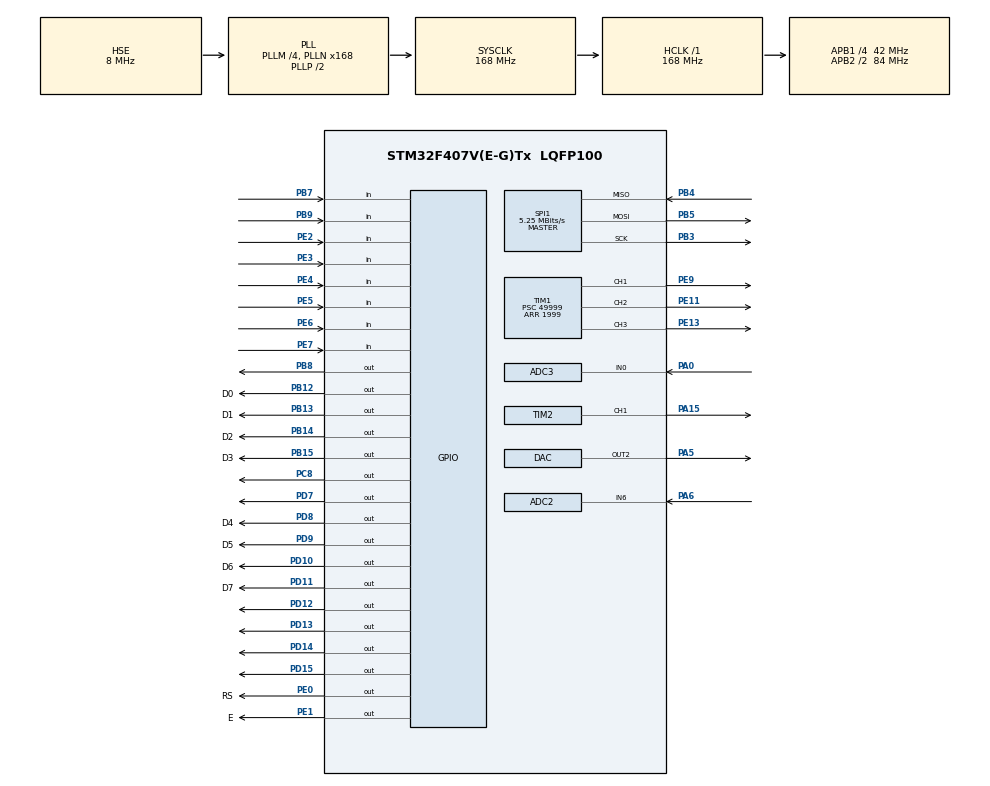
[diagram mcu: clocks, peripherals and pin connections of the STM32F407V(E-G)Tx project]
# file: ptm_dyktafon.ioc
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ADC2.Channel-6\#ChannelRegularConversion=ADC_CHANNEL_6
ADC2.NbrOfConversionFlag=1
ADC2.Rank-6\#ChannelRegularConversion=1
ADC2.SamplingTime-6\#ChannelRegularConversion=ADC_SAMPLETIME_3CYCLES
ADC3.Channel-0\#ChannelRegularConversion=ADC_CHANNEL_0
ADC3.NbrOfConversionFlag=1
ADC3.Rank-0\#ChannelRegularConversion=1
ADC3.Resolution=ADC_RESOLUTION_8B
ADC3.SamplingTime-0\#ChannelRegularConversion=ADC_SAMPLETIME_3CYCLES
Mcu.Family=STM32F4
Mcu.Name=STM32F407V(E-G)Tx
Mcu.Package=LQFP100
NVIC.PriorityGroup=NVIC_PRIORITYGROUP_4
NVIC.TIM2_IRQn=true\:0\:0\:false\:false\:true\:true\:true
NVIC.TIM3_IRQn=true\:1\:0\:true\:false\:true\:true\:true
NVIC.TIM4_IRQn=true\:0\:0\:false\:false\:true\:true\:true
NVIC.TIM5_IRQn=true\:0\:0\:false\:false\:true\:true\:true
PA0-WKUP.Signal=ADCx_IN0
PA15.Signal=S_TIM2_CH1_ETR
PA5.Signal=COMP_DAC2_group
PA6.Signal=ADCx_IN6
PB0.Signal=S_TIM3_CH3
PB12.GPIO_Label=D0
PB12.Signal=GPIO_Output
PB13.GPIO_Label=D1
PB13.Signal=GPIO_Output
PB14.GPIO_Label=D2
PB14.Signal=GPIO_Output
PB15.GPIO_Label=D3
PB15.Signal=GPIO_Output
PB3.Mode=Full_Duplex_Master
PB3.Signal=SPI1_SCK
PB4.Mode=Full_Duplex_Master
PB4.Signal=SPI1_MISO
PB5.Mode=Full_Duplex_Master
PB5.Signal=SPI1_MOSI
PB7.GPIO_PuPd=GPIO_PULLUP
PB7.Signal=GPIO_Input
PB8.Signal=GPIO_Output
PB9.GPIO_PuPd=GPIO_PULLUP
PB9.Signal=GPIO_Input
PC5.Signal=ADCx_IN15
PC6.Signal=S_TIM3_CH1
PC7.Signal=S_TIM3_CH2
PC8.Signal=GPIO_Output
PD10.GPIO_Label=D6
PD10.Signal=GPIO_Output
PD11.GPIO_Label=D7
PD11.Signal=GPIO_Output
PD12.Signal=GPIO_Output
PD13.Signal=GPIO_Output
PD14.Signal=GPIO_Output
PD15.Signal=GPIO_Output
PD7.Signal=GPIO_Output
PD8.GPIO_Label=D4
PD8.Signal=GPIO_Output
PD9.GPIO_Label=D5
PD9.Signal=GPIO_Output
PE0.GPIO_Label=RS
PE0.Signal=GPIO_Output
PE1.GPIO_Label=E
PE1.Signal=GPIO_Output
PE11.Signal=S_TIM1_CH2
PE13.Signal=S_TIM1_CH3
PE2.GPIO_PuPd=GPIO_PULLUP
PE2.Signal=GPIO_Input
PE3.GPIO_PuPd=GPIO_PULLUP
PE3.Signal=GPIO_Input
PE4.GPIO_PuPd=GPIO_PULLUP
PE4.Signal=GPIO_Input
PE5.GPIO_PuPd=GPIO_PULLUP
PE5.Signal=GPIO_Input
PE6.GPIO_PuPd=GPIO_PULLUP
PE6.Signal=GPIO_Input
PE7.GPIO_PuPd=GPIO_PULLUP
PE7.Signal=GPIO_Input
PE9.Signal=S_TIM1_CH1
PH0-OSC_IN.Mode=HSE-External-Oscillator
PH0-OSC_IN.Signal=RCC_OSC_IN
PH1-OSC_OUT.Mode=HSE-External-Oscillator
PH1-OSC_OUT.Signal=RCC_OSC_OUT
ProjectManager.HeapSize=0x200
ProjectManager.StackSize=0x400
ProjectManager.TargetToolchain=STM32CubeIDE
RCC.48MHZClocksFreq_Value=84000000
RCC.AHBFreq_Value=168000000
RCC.APB1CLKDivider=RCC_HCLK_DIV4
RCC.APB1Freq_Value=42000000
RCC.APB1TimFreq_Value=84000000
RCC.APB2CLKDivider=RCC_HCLK_DIV2
RCC.APB2Freq_Value=84000000
RCC.APB2TimFreq_Value=168000000
RCC.CortexFreq_Value=168000000
RCC.HCLKFreq_Value=168000000
RCC.HSE_VALUE=8000000
RCC.HSI_VALUE=16000000
RCC.LSE_VALUE=32768
RCC.PLLM=4
RCC.PLLN=168
RCC.PLLSourceVirtual=RCC_PLLSOURCE_HSE
RCC.SYSCLKFreq_VALUE=168000000
RCC.SYSCLKSource=RCC_SYSCLKSOURCE_PLLCLK
RCC.VCOOutputFreq_Value=336000000
SH.ADCx_IN0.0=ADC3_IN0,IN0
SH.ADCx_IN15.0=ADC1_IN15
SH.ADCx_IN6.0=ADC2_IN6,IN6
SH.COMP_DAC2_group.0=DAC_OUT2,DAC_OUT2
SH.S_TIM1_CH1.0=TIM1_CH1,PWM Generation1 CH1
SH.S_TIM1_CH2.0=TIM1_CH2,PWM Generation2 CH2
SH.S_TIM1_CH3.0=TIM1_CH3,PWM Generation3 CH3
SH.S_TIM2_CH1_ETR.0=TIM2_CH1,PWM Generation1 CH1
SH.S_TIM3_CH1.0=TIM3_CH1
SH.S_TIM3_CH2.0=TIM3_CH2
SH.S_TIM3_CH3.0=TIM3_CH3
SPI1.BaudRatePrescaler=SPI_BAUDRATEPRESCALER_16
SPI1.CalculateBaudRate=5.25 MBits/s
SPI1.Direction=SPI_DIRECTION_2LINES
SPI1.Mode=SPI_MODE_MASTER
SPI1.VirtualType=VM_MASTER
TIM1.Channel-PWM\ Generation1\ CH1=TIM_CHANNEL_1
TIM1.Channel-PWM\ Generation2\ CH2=TIM_CHANNEL_2
TIM1.Channel-PWM\ Generation3\ CH3=TIM_CHANNEL_3
TIM1.Period=1999
TIM1.Prescaler=49999
TIM2.Channel-PWM\ Generation1\ CH1=TIM_CHANNEL_1
TIM2.Period=3999
TIM2.Prescaler=2099
TIM3.Period=1999
TIM3.Prescaler=20999
TIM4.Period=209
TIM4.Prescaler=49
TIM5.Period=209
TIM5.Prescaler=49
VP_TIM2_VS_ClockSourceINT.Mode=Internal
VP_TIM3_VS_ClockSourceINT.Mode=Internal
VP_TIM4_VS_ClockSourceINT.Mode=Internal
VP_TIM5_VS_ClockSourceINT.Mode=Internal
board=custom

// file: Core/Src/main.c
/* USER CODE BEGIN Header */
/**
  ******************************************************************************
  * @file           : main.c
  * @brief          : Main program body
  ******************************************************************************
  * @attention
  *
  * <h2><center>&copy; Copyright (c) 2020 STMicroelectronics.
  * All rights reserved.</center></h2>
  *
  * This software component is licensed by ST under BSD 3-Clause license,
  * the "License"; You may not use this file except in compliance with the
  * License. You may obtain a copy of the License at:
  *                        opensource.org/licenses/BSD-3-Clause
  *
  ******************************************************************************
  */
/* USER CODE END Header */

#include "main.h"

/* USER CODE BEGIN Includes */
#include "ff.h"
#include "STM_MY_LCD16X2.h"
#include "file_manager.h"
#include "recorder.h"
#include "stm32f4xx_hal.h"
#include <stdlib.h>
#include <string.h>
#define CHUNK_SIZE 256
//extern const uint8_t rawAudio[123200];
uint8_t data_chunk[CHUNK_SIZE];
extern volatile int data_iterator;
extern const uint32_t SAMPLE_RATE;
/* USER CODE END Includes */

ADC_HandleTypeDef hadc2;
ADC_HandleTypeDef hadc3;

DAC_HandleTypeDef hdac;

SPI_HandleTypeDef hspi1;

TIM_HandleTypeDef htim1;
TIM_HandleTypeDef htim2;
TIM_HandleTypeDef htim3;
TIM_HandleTypeDef htim4;
TIM_HandleTypeDef htim5;

/* USER CODE BEGIN PV */
uint8_t adc_value;
/*------Zmienne potrzebne do glosnika----------*/
volatile uint32_t sample=0;
double volume=0;
volatile uint8_t diode_state =0;
uint16_t value;

volatile int playing = 0;
uint32_t file_size = 0;

/*-----------zmienne potrzebne do nagrywania-------------*/
volatile int recording = 0;
uint32_t recording_time = 0;
uint16_t total_adc_value = 0;
uint16_t previous_total_adc_value = 0;

/*------------zmienne do ... --------------*/
volatile int y=0;
volatile int z=100;
volatile int selection=-1;
volatile int last_selection=-1;
/*-------------Zmienne potrzebne do zapisu i odczytu na kacie pamieci-------------------------------*/
char buffer[256]; //bufor odczytu i zapisu
static FATFS FatFs; //uchwyt do urządzenia FatFs (dysku, karty SD...)
FRESULT fresult; //do przechowywania wyniku operacji na bibliotece FatFs
static FIL file; //uchwyt do otwartego pliku
char * file_name="0.wav";

/* USER CODE END PV */

void SystemClock_Config(void);
static void MX_GPIO_Init(void);
static void MX_TIM2_Init(void);
static void MX_TIM3_Init(void);
static void MX_SPI1_Init(void);
static void MX_DAC_Init(void);
static void MX_TIM5_Init(void);
static void MX_TIM4_Init(void);
static void MX_ADC2_Init(void);
static void MX_TIM1_Init(void);
static void MX_ADC3_Init(void);
/* USER CODE BEGIN PFP */
/*--------------------Otwarcie pliku do odtwarzania------------------------*/
void OpenFileToRead(char *file_name)
{
	FRESULT fr1;
	fr1=f_open(&file, file_name, FA_READ);
	sample=44;
	file_size=f_size(&file);
	f_lseek(&file, 44);

}
void CloseFileToRead(char *file_name)
{
	f_close(&file);
}

/*------------------------Odczyt jednego fragmentu danych------------*/
int ReadChunk(char* file_path, uint32_t sample)
{
	UINT br;
	f_lseek(&file, sample);
	f_read(&file, data_chunk, CHUNK_SIZE, &br);
	if (CHUNK_SIZE != br) return 1;
	return 0;
}
void HAL_TIM_PeriodElapsedCallback(TIM_HandleTypeDef*htim) //2,5,4 timer wykorzystany 1 do diody1
{
/*--------------------Wyswietlanie czasu-------------------*/

	if(htim->Instance== TIM3)
		{
		if (playing)
			 	{
		      char * display_time = (char *)malloc(13);
		      int seconds = sample/SAMPLE_RATE;
		      int minutes = seconds / 60 ;
		      int seconds_left = seconds % 60;
		      int file_seconds = (file_size-44)/SAMPLE_RATE;
		      int file_minutes = file_seconds / 60 ;
		      int file_seconds_left = file_seconds % 60;
		      sprintf(display_time, "%0.2d:%0.2d / %0.2d:%0.2d",minutes, seconds_left,file_minutes, file_seconds_left);
		      printf("%s\n",display_time);

			 		LCD1602_clear();
			 		LCD1602_1stLine();
			 		LCD1602_print(file_name);
			 		LCD1602_2ndLine();
			 		LCD1602_print(display_time);
			 		free(display_time);
			 	}
		if (recording)
			{
		  char * display_time = (char *)malloc(16);
		  int seconds = recording_time/SAMPLE_RATE;
		  int minutes = seconds / 60 ;
		  int seconds_left = seconds % 60;
		  sprintf(display_time, "%s: %0.2d:%0.2d",file_name, minutes, seconds_left);
		  printf("%s\n",display_time);

				LCD1602_clear();
				LCD1602_1stLine();
				LCD1602_print("recording");
				LCD1602_2ndLine();
				LCD1602_print(display_time);
				free(display_time);
			}

		}
/*--------------------Odczyt z mikrofonu------------------*/
	if(htim->Instance== TIM4)
	{
		if (recording==1)
		{
			HAL_ADC_Start(&hadc3);
			  if(HAL_ADC_PollForConversion(&hadc3, 10) == HAL_OK)
			  {

	                 previous_total_adc_value = total_adc_value;
	                 total_adc_value = 0;
	                 total_adc_value += HAL_ADC_GetValue(&hadc3);
	                 for (int i =0; i <15; i++)
	                 {
	                     HAL_ADC_Start(&hadc3);
	                     HAL_ADC_PollForConversion(&hadc3, 10);
	                     total_adc_value += HAL_ADC_GetValue(&hadc3);
	                 }
	                 total_adc_value /= 16;
	                 data_chunk[data_iterator]  = (total_adc_value + previous_total_adc_value)/2;
	                 data_iterator++;

				 	  if (data_iterator >= CHUNK_SIZE - 1)
					  {

					  SaveChunk(file_name, data_chunk);
					  data_iterator = 0;
					  int sum=0;
					  for (int i=0; i<CHUNK_SIZE; i++)
					  {
						  sum+=data_chunk[i];
					  }
					  recording_time+=CHUNK_SIZE;
					  rgb2_set((uint8_t)(sum/CHUNK_SIZE));

					  }
			  }
		}
	}

/*--------------------Odwarzanie z glosniczka------------------*/
	if(htim->Instance== TIM5)
		{
			if(playing)
			{

				if(sample <= file_size)
				{
					HAL_DAC_SetValue(&hdac, DAC_CHANNEL_2, DAC_ALIGN_12B_R, data_chunk[data_iterator]*volume);

					data_iterator++;
					if (data_iterator >= CHUNK_SIZE - 1)
					{
						sample += CHUNK_SIZE;
						ReadChunk(file_name, sample);
						data_iterator = 0;
					 }
				}
				else
				{
					rgb1_set(0, 0, 0);
			 		playing = 0;
			 		 sample = 0;
			 		 CloseFileToRead(file_name);
				}
			}
		}

}

/*--------------------Ustalanie glosnosci------------------*/
void set_volume()
{
	  HAL_ADC_Start(&hadc2);
	  if(HAL_ADC_PollForConversion(&hadc2, 10) == HAL_OK)
	  {
		  value = HAL_ADC_GetValue(&hadc2);
		  volume = value/(double)409;
	  }
}

/*-------------------Konfiguracja diody RGB1----------------------------*/
void rgb1_set(uint8_t red, uint8_t green, uint8_t blue)
{
	htim1.Instance->CCR1=red*2000;
	htim1.Instance->CCR2=green*2000;
	htim1.Instance->CCR3=blue*2000;
}

/*-------------------Konfiguracja diody RGB2----------------------------*/

void rgb2_set(uint8_t red)
{
	if (recording)
	TIM2->CCR1=(red/256.0)*4000;
	else
	TIM2->CCR1=0;
}

/*-------------------Wybieranie przycisków----------------------------*/

void select_button(int selection)
{
	if (recording)
	{
		switch(selection)
		{
		//pauza nagrywania
		case 0:
			{
				HAL_GPIO_WritePin(GPIOD, GPIO_PIN_14, RESET);
				rgb1_set(255, 0, 255);//fioletowy
				LCD1602_clear();
				LCD1602_1stLine();
				LCD1602_print("pause recording");
				recording=0;
				break;
			}
		//zatrzymanie i zapisanie nagrywania
		case 1:
			{
				HAL_GPIO_WritePin(GPIOD, GPIO_PIN_14, RESET);
				rgb1_set(0, 0, 255);//niebieski
				LCD1602_clear();
				LCD1602_1stLine();
				LCD1602_print("stop recording");
				recording=0;
				rgb2_set(0);
				CloseFile(file_name);
				AddWaveHeader(file_name);
				break;
			}
		default:
			{

				break;

			}
		}
	}
	else if (playing)
	{
		switch(selection)
		{
		//10 chwil do tyłu
		case 0:
			{
				  HAL_GPIO_WritePin(GPIOB, GPIO_PIN_7, SET);
				  if (sample < 10 * SAMPLE_RATE)
					  {
						  sample = 44;
					  }
				  else
					  {
					  sample -= 10 * SAMPLE_RATE;
					  LCD1602_clear();
					  LCD1602_1stLine();
					  LCD1602_print("-10");
					  }
				break;
			}
		//10 chwil do przodu
		case 1:
			{
				 HAL_GPIO_WritePin(GPIOD, GPIO_PIN_13, RESET);
				 if (sample + 10 * SAMPLE_RATE > file_size)
				 {
					 sample=0;
					 playing = 0;
					 CloseFileToRead(file_name);
				 }
				 else
				 {
					sample += 10 * SAMPLE_RATE;
					LCD1602_clear();
					LCD1602_1stLine();
					LCD1602_print("+10");
				 }
				 break;
			}
		//zatrzymaj
		case 2:
			{
				//podczas zatrzymania
				playing=0;
				break;
			}
		//zakończ odtwarzanie
		case 3:
			{
				playing=0;
				HAL_GPIO_WritePin(GPIOB, GPIO_PIN_9, RESET);
				LCD1602_clear();
				LCD1602_1stLine();
				LCD1602_print("stop");
				rgb1_set(255, 255, 0); //pomaranczowy
				CloseFileToRead(file_name);
				break;
			}
		default:
			{

			break;
			}
		}
	}
	else
	{
	switch(selection)
		{
		//0 utwór do tyłu
			case 0:
			{

					file_name = PreviousFile(file_name);
					LCD1602_clear();
					LCD1602_1stLine();
					LCD1602_print(file_name);
					HAL_GPIO_WritePin(GPIOD, GPIO_PIN_15, SET);

						break;
			}
			//utwór do przodu
			case 1:
			{
			file_name = NextFile(file_name);
			LCD1602_clear();
			LCD1602_1stLine();
			LCD1602_print(file_name);
			HAL_GPIO_WritePin(GPIOD, GPIO_PIN_15, RESET);
			break;
			}
			//odtwórz aktualny utwór
			case 2:
			{
				  HAL_GPIO_WritePin(GPIOD, GPIO_PIN_13, SET);
				  sample=0;
				  OpenFileToRead(file_name);
				  playing=1;
				  rgb1_set(0, 255, 0); //zielony
				  break;
			}
			//nagraj nowy utwór
			case 3:
			{
				recording_time = 0;
				HAL_GPIO_WritePin(GPIOD, GPIO_PIN_14, SET);
				LCD1602_clear();
				LCD1602_1stLine();
				LCD1602_print("recording");
				rgb1_set(255, 0, 0);//czerwony
				file_name = GetNextFileName();
				AddWaveHeader(file_name); // dodaje  nagłówek
				OpenFile(file_name);
				recording = 1;
				break;
			}
			//kontynuacja odwarzania
			case 4:
			{
				HAL_GPIO_WritePin(GPIOD, GPIO_PIN_13, SET);
				playing=1;
				rgb1_set(0, 255, 0); //zielony
				break;

			}
			//kontynuacja nagrywania
			case 5:
			{
				HAL_GPIO_WritePin(GPIOD, GPIO_PIN_14, SET);
				rgb1_set(255, 0, 0);//czerwony
				LCD1602_clear();
				LCD1602_1stLine();
				LCD1602_print("recording");
				recording=1;
				break;
			}
			default:
			{
				break;
			}
		}

	}

}

/*----------Czytanie z przyciskow---------------*/
void read_buttons()
{

	  	 if (HAL_GPIO_ReadPin(GPIOB, GPIO_PIN_7)==GPIO_PIN_RESET)
	  	 	  	 			  	  	{selection=0;}
	  	 if (HAL_GPIO_ReadPin(GPIOB, GPIO_PIN_9)==GPIO_PIN_RESET)
	  	 	  	  	 			  	{selection=1;}
	  	 if (HAL_GPIO_ReadPin(GPIOE, GPIO_PIN_2)==GPIO_PIN_RESET)
	  		  	  	  	  	 		{selection=2;}
	  	 if (HAL_GPIO_ReadPin(GPIOE, GPIO_PIN_3)==GPIO_PIN_RESET)
	  		  	  	  	  	  	  	  {selection=3;}
	  	 if (HAL_GPIO_ReadPin(GPIOE, GPIO_PIN_4)==GPIO_PIN_RESET)
	  	  	  	  	  	 			{selection=4;}
	  	 if (HAL_GPIO_ReadPin(GPIOE, GPIO_PIN_5)==GPIO_PIN_RESET)
	  	  	  	 	  	  	 		{selection=5;}
	  	 if (HAL_GPIO_ReadPin(GPIOE, GPIO_PIN_6)==GPIO_PIN_RESET)
	  	  	  		  	  	  	  	 {selection=6;}
	  	 if (HAL_GPIO_ReadPin(GPIOE, GPIO_PIN_7)==GPIO_PIN_RESET)
	  	  	  		  	  	 	  	 {selection=7;}
	  	 if (selection == last_selection)
	  	 {
	  		 select_button(selection);
	  	 }
	  	 last_selection = selection;
	  	 selection=-1;

}

/* USER CODE END PFP */

int main(void)
{

  /* MCU Configuration--------------------------------------------------------*/

  /* Reset of all peripherals, Initializes the Flash interface and the Systick. */
  HAL_Init();

  /* Configure the system clock */
  SystemClock_Config();

  /* Initialize all configured peripherals */
  MX_GPIO_Init();
  MX_TIM2_Init();
  MX_TIM3_Init();
  MX_SPI1_Init();
  MX_DAC_Init();
  MX_TIM5_Init();
  MX_TIM4_Init();
  MX_ADC2_Init();
  MX_TIM1_Init();
  MX_ADC3_Init();
  /* USER CODE BEGIN 2 */
  HAL_DAC_Start(&hdac,DAC_CHANNEL_2);
  HAL_TIM_PWM_Start(&htim1, TIM_CHANNEL_1);
  HAL_TIM_PWM_Start(&htim1, TIM_CHANNEL_2);
  HAL_TIM_PWM_Start(&htim1, TIM_CHANNEL_3);
  HAL_TIM_PWM_Start(&htim2, TIM_CHANNEL_1);
  HAL_TIM_Base_Start_IT(&htim5);
  HAL_TIM_Base_Start_IT(&htim4);
  HAL_TIM_Base_Start_IT(&htim3);
  HAL_TIM_Base_Start_IT(&htim2);
  	LCD1602_Begin4BIT(RS_GPIO_Port, RS_Pin, E_Pin, D4_GPIO_Port, D4_Pin, D5_Pin, D6_Pin, D7_Pin);
	LCD1602_noCursor();
	LCD1602_noBlink();
  	LCD1602_clear();
	LCD1602_print("HELLO");
	//LCD1602_PrintInt(playing);

  //HAL_ADC_Start(&hadc1);
  HAL_ADC_Start(&hadc2);
  HAL_ADC_Start(&hadc3);

  fresult = f_mount(&FatFs, "", 0);

  HAL_GPIO_WritePin(GPIOC, GPIO_PIN_8, SET);
  file_name=NextFile(file_name);
  /* USER CODE END 2 */

  /* Infinite loop */
  while (1)
  {

    /* USER CODE BEGIN 3 */
		HAL_Delay(100);
	 	set_volume();

	 	read_buttons();

  }
  /* USER CODE END 3 */
}

void SystemClock_Config(void)
{
  RCC_OscInitTypeDef RCC_OscInitStruct = {0};
  RCC_ClkInitTypeDef RCC_ClkInitStruct = {0};

  /** Configure the main internal regulator output voltage
  */
  __HAL_RCC_PWR_CLK_ENABLE();
  __HAL_PWR_VOLTAGESCALING_CONFIG(PWR_REGULATOR_VOLTAGE_SCALE1);
  /** Initializes the CPU, AHB and APB busses clocks
  */
  RCC_OscInitStruct.OscillatorType = RCC_OSCILLATORTYPE_HSE;
  RCC_OscInitStruct.HSEState = RCC_HSE_ON;
  RCC_OscInitStruct.PLL.PLLState = RCC_PLL_ON;
  RCC_OscInitStruct.PLL.PLLSource = RCC_PLLSOURCE_HSE;
  RCC_OscInitStruct.PLL.PLLM = 4;
  RCC_OscInitStruct.PLL.PLLN = 168;
  RCC_OscInitStruct.PLL.PLLP = RCC_PLLP_DIV2;
  RCC_OscInitStruct.PLL.PLLQ = 4;
  if (HAL_RCC_OscConfig(&RCC_OscInitStruct) != HAL_OK)
  {
    Error_Handler();
  }
  /** Initializes the CPU, AHB and APB busses clocks
  */
  RCC_ClkInitStruct.ClockType = RCC_CLOCKTYPE_HCLK|RCC_CLOCKTYPE_SYSCLK
                              |RCC_CLOCKTYPE_PCLK1|RCC_CLOCKTYPE_PCLK2;
  RCC_ClkInitStruct.SYSCLKSource = RCC_SYSCLKSOURCE_PLLCLK;
  RCC_ClkInitStruct.AHBCLKDivider = RCC_SYSCLK_DIV1;
  RCC_ClkInitStruct.APB1CLKDivider = RCC_HCLK_DIV4;
  RCC_ClkInitStruct.APB2CLKDivider = RCC_HCLK_DIV2;

  if (HAL_RCC_ClockConfig(&RCC_ClkInitStruct, FLASH_LATENCY_5) != HAL_OK)
  {
    Error_Handler();
  }
}

static void MX_ADC2_Init(void)
{

  ADC_ChannelConfTypeDef sConfig = {0};

  /** Configure the global features of the ADC (Clock, Resolution, Data Alignment and number of conversion)
  */
  hadc2.Instance = ADC2;
  hadc2.Init.ClockPrescaler = ADC_CLOCK_SYNC_PCLK_DIV4;
  hadc2.Init.Resolution = ADC_RESOLUTION_12B;
  hadc2.Init.ScanConvMode = DISABLE;
  hadc2.Init.ContinuousConvMode = DISABLE;
  hadc2.Init.DiscontinuousConvMode = DISABLE;
  hadc2.Init.ExternalTrigConvEdge = ADC_EXTERNALTRIGCONVEDGE_NONE;
  hadc2.Init.ExternalTrigConv = ADC_SOFTWARE_START;
  hadc2.Init.DataAlign = ADC_DATAALIGN_RIGHT;
  hadc2.Init.NbrOfConversion = 1;
  hadc2.Init.DMAContinuousRequests = DISABLE;
  hadc2.Init.EOCSelection = ADC_EOC_SINGLE_CONV;
  if (HAL_ADC_Init(&hadc2) != HAL_OK)
  {
    Error_Handler();
  }
  /** Configure for the selected ADC regular channel its corresponding rank in the sequencer and its sample time.
  */
  sConfig.Channel = ADC_CHANNEL_6;
  sConfig.Rank = 1;
  sConfig.SamplingTime = ADC_SAMPLETIME_3CYCLES;
  if (HAL_ADC_ConfigChannel(&hadc2, &sConfig) != HAL_OK)
  {
    Error_Handler();
  }

}

static void MX_ADC3_Init(void)
{

  ADC_ChannelConfTypeDef sConfig = {0};

  /** Configure the global features of the ADC (Clock, Resolution, Data Alignment and number of conversion)
  */
  hadc3.Instance = ADC3;
  hadc3.Init.ClockPrescaler = ADC_CLOCK_SYNC_PCLK_DIV4;
  hadc3.Init.Resolution = ADC_RESOLUTION_8B;
  hadc3.Init.ScanConvMode = DISABLE;
  hadc3.Init.ContinuousConvMode = DISABLE;
  hadc3.Init.DiscontinuousConvMode = DISABLE;
  hadc3.Init.ExternalTrigConvEdge = ADC_EXTERNALTRIGCONVEDGE_NONE;
  hadc3.Init.ExternalTrigConv = ADC_SOFTWARE_START;
  hadc3.Init.DataAlign = ADC_DATAALIGN_RIGHT;
  hadc3.Init.NbrOfConversion = 1;
  hadc3.Init.DMAContinuousRequests = DISABLE;
  hadc3.Init.EOCSelection = ADC_EOC_SINGLE_CONV;
  if (HAL_ADC_Init(&hadc3) != HAL_OK)
  {
    Error_Handler();
  }
  /** Configure for the selected ADC regular channel its corresponding rank in the sequencer and its sample time.
  */
  sConfig.Channel = ADC_CHANNEL_0;
  sConfig.Rank = 1;
  sConfig.SamplingTime = ADC_SAMPLETIME_3CYCLES;
  if (HAL_ADC_ConfigChannel(&hadc3, &sConfig) != HAL_OK)
  {
    Error_Handler();
  }

}

static void MX_DAC_Init(void)
{

  DAC_ChannelConfTypeDef sConfig = {0};

  /** DAC Initialization
  */
  hdac.Instance = DAC;
  if (HAL_DAC_Init(&hdac) != HAL_OK)
  {
    Error_Handler();
  }
  /** DAC channel OUT2 config
  */
  sConfig.DAC_Trigger = DAC_TRIGGER_NONE;
  sConfig.DAC_OutputBuffer = DAC_OUTPUTBUFFER_ENABLE;
  if (HAL_DAC_ConfigChannel(&hdac, &sConfig, DAC_CHANNEL_2) != HAL_OK)
  {
    Error_Handler();
  }

}

static void MX_SPI1_Init(void)
{

  /* SPI1 parameter configuration*/
  hspi1.Instance = SPI1;
  hspi1.Init.Mode = SPI_MODE_MASTER;
  hspi1.Init.Direction = SPI_DIRECTION_2LINES;
  hspi1.Init.DataSize = SPI_DATASIZE_8BIT;
  hspi1.Init.CLKPolarity = SPI_POLARITY_LOW;
  hspi1.Init.CLKPhase = SPI_PHASE_1EDGE;
  hspi1.Init.NSS = SPI_NSS_SOFT;
  hspi1.Init.BaudRatePrescaler = SPI_BAUDRATEPRESCALER_16;
  hspi1.Init.FirstBit = SPI_FIRSTBIT_MSB;
  hspi1.Init.TIMode = SPI_TIMODE_DISABLE;
  hspi1.Init.CRCCalculation = SPI_CRCCALCULATION_DISABLE;
  hspi1.Init.CRCPolynomial = 10;
  if (HAL_SPI_Init(&hspi1) != HAL_OK)
  {
    Error_Handler();
  }

}

static void MX_TIM1_Init(void)
{

  TIM_MasterConfigTypeDef sMasterConfig = {0};
  TIM_OC_InitTypeDef sConfigOC = {0};
  TIM_BreakDeadTimeConfigTypeDef sBreakDeadTimeConfig = {0};

  htim1.Instance = TIM1;
  htim1.Init.Prescaler = 49999;
  htim1.Init.CounterMode = TIM_COUNTERMODE_UP;
  htim1.Init.Period = 1999;
  htim1.Init.ClockDivision = TIM_CLOCKDIVISION_DIV1;
  htim1.Init.RepetitionCounter = 0;
  htim1.Init.AutoReloadPreload = TIM_AUTORELOAD_PRELOAD_DISABLE;
  if (HAL_TIM_PWM_Init(&htim1) != HAL_OK)
  {
    Error_Handler();
  }
  sMasterConfig.MasterOutputTrigger = TIM_TRGO_RESET;
  sMasterConfig.MasterSlaveMode = TIM_MASTERSLAVEMODE_DISABLE;
  if (HAL_TIMEx_MasterConfigSynchronization(&htim1, &sMasterConfig) != HAL_OK)
  {
    Error_Handler();
  }
  sConfigOC.OCMode = TIM_OCMODE_PWM1;
  sConfigOC.Pulse = 0;
  sConfigOC.OCPolarity = TIM_OCPOLARITY_HIGH;
  sConfigOC.OCNPolarity = TIM_OCNPOLARITY_HIGH;
  sConfigOC.OCFastMode = TIM_OCFAST_DISABLE;
  sConfigOC.OCIdleState = TIM_OCIDLESTATE_RESET;
  sConfigOC.OCNIdleState = TIM_OCNIDLESTATE_RESET;
  if (HAL_TIM_PWM_ConfigChannel(&htim1, &sConfigOC, TIM_CHANNEL_1) != HAL_OK)
  {
    Error_Handler();
  }
  if (HAL_TIM_PWM_ConfigChannel(&htim1, &sConfigOC, TIM_CHANNEL_2) != HAL_OK)
  {
    Error_Handler();
  }
  if (HAL_TIM_PWM_ConfigChannel(&htim1, &sConfigOC, TIM_CHANNEL_3) != HAL_OK)
  {
    Error_Handler();
  }
  sBreakDeadTimeConfig.OffStateRunMode = TIM_OSSR_DISABLE;
  sBreakDeadTimeConfig.OffStateIDLEMode = TIM_OSSI_DISABLE;
  sBreakDeadTimeConfig.LockLevel = TIM_LOCKLEVEL_OFF;
  sBreakDeadTimeConfig.DeadTime = 0;
  sBreakDeadTimeConfig.BreakState = TIM_BREAK_DISABLE;
  sBreakDeadTimeConfig.BreakPolarity = TIM_BREAKPOLARITY_HIGH;
  sBreakDeadTimeConfig.AutomaticOutput = TIM_AUTOMATICOUTPUT_DISABLE;
  if (HAL_TIMEx_ConfigBreakDeadTime(&htim1, &sBreakDeadTimeConfig) != HAL_OK)
  {
    Error_Handler();
  }
  HAL_TIM_MspPostInit(&htim1);

}

static void MX_TIM2_Init(void)
{

  TIM_ClockConfigTypeDef sClockSourceConfig = {0};
  TIM_MasterConfigTypeDef sMasterConfig = {0};
  TIM_OC_InitTypeDef sConfigOC = {0};

  htim2.Instance = TIM2;
  htim2.Init.Prescaler = 2099;
  htim2.Init.CounterMode = TIM_COUNTERMODE_UP;
  htim2.Init.Period = 3999;
  htim2.Init.ClockDivision = TIM_CLOCKDIVISION_DIV1;
  htim2.Init.AutoReloadPreload = TIM_AUTORELOAD_PRELOAD_DISABLE;
  if (HAL_TIM_Base_Init(&htim2) != HAL_OK)
  {
    Error_Handler();
  }
  sClockSourceConfig.ClockSource = TIM_CLOCKSOURCE_INTERNAL;
  if (HAL_TIM_ConfigClockSource(&htim2, &sClockSourceConfig) != HAL_OK)
  {
    Error_Handler();
  }
  if (HAL_TIM_PWM_Init(&htim2) != HAL_OK)
  {
    Error_Handler();
  }
  sMasterConfig.MasterOutputTrigger = TIM_TRGO_RESET;
  sMasterConfig.MasterSlaveMode = TIM_MASTERSLAVEMODE_DISABLE;
  if (HAL_TIMEx_MasterConfigSynchronization(&htim2, &sMasterConfig) != HAL_OK)
  {
    Error_Handler();
  }
  sConfigOC.OCMode = TIM_OCMODE_PWM1;
  sConfigOC.Pulse = 0;
  sConfigOC.OCPolarity = TIM_OCPOLARITY_HIGH;
  sConfigOC.OCFastMode = TIM_OCFAST_DISABLE;
  if (HAL_TIM_PWM_ConfigChannel(&htim2, &sConfigOC, TIM_CHANNEL_1) != HAL_OK)
  {
    Error_Handler();
  }
  HAL_TIM_MspPostInit(&htim2);

}

static void MX_TIM3_Init(void)
{

  TIM_ClockConfigTypeDef sClockSourceConfig = {0};
  TIM_MasterConfigTypeDef sMasterConfig = {0};

  htim3.Instance = TIM3;
  htim3.Init.Prescaler = 20999;
  htim3.Init.CounterMode = TIM_COUNTERMODE_UP;
  htim3.Init.Period = 1999;
  htim3.Init.ClockDivision = TIM_CLOCKDIVISION_DIV1;
  htim3.Init.AutoReloadPreload = TIM_AUTORELOAD_PRELOAD_DISABLE;
  if (HAL_TIM_Base_Init(&htim3) != HAL_OK)
  {
    Error_Handler();
  }
  sClockSourceConfig.ClockSource = TIM_CLOCKSOURCE_INTERNAL;
  if (HAL_TIM_ConfigClockSource(&htim3, &sClockSourceConfig) != HAL_OK)
  {
    Error_Handler();
  }
  sMasterConfig.MasterOutputTrigger = TIM_TRGO_RESET;
  sMasterConfig.MasterSlaveMode = TIM_MASTERSLAVEMODE_DISABLE;
  if (HAL_TIMEx_MasterConfigSynchronization(&htim3, &sMasterConfig) != HAL_OK)
  {
    Error_Handler();
  }

}

static void MX_TIM4_Init(void)
{

  TIM_ClockConfigTypeDef sClockSourceConfig = {0};
  TIM_MasterConfigTypeDef sMasterConfig = {0};

  htim4.Instance = TIM4;
  htim4.Init.Prescaler = 49;
  htim4.Init.CounterMode = TIM_COUNTERMODE_UP;
  htim4.Init.Period = 209;
  htim4.Init.ClockDivision = TIM_CLOCKDIVISION_DIV1;
  htim4.Init.AutoReloadPreload = TIM_AUTORELOAD_PRELOAD_DISABLE;
  if (HAL_TIM_Base_Init(&htim4) != HAL_OK)
  {
    Error_Handler();
  }
  sClockSourceConfig.ClockSource = TIM_CLOCKSOURCE_INTERNAL;
  if (HAL_TIM_ConfigClockSource(&htim4, &sClockSourceConfig) != HAL_OK)
  {
    Error_Handler();
  }
  sMasterConfig.MasterOutputTrigger = TIM_TRGO_RESET;
  sMasterConfig.MasterSlaveMode = TIM_MASTERSLAVEMODE_DISABLE;
  if (HAL_TIMEx_MasterConfigSynchronization(&htim4, &sMasterConfig) != HAL_OK)
  {
    Error_Handler();
  }

}

static void MX_TIM5_Init(void)
{

  TIM_ClockConfigTypeDef sClockSourceConfig = {0};
  TIM_MasterConfigTypeDef sMasterConfig = {0};

  htim5.Instance = TIM5;
  htim5.Init.Prescaler = 49;
  htim5.Init.CounterMode = TIM_COUNTERMODE_UP;
  htim5.Init.Period = 209;
  htim5.Init.ClockDivision = TIM_CLOCKDIVISION_DIV1;
  htim5.Init.AutoReloadPreload = TIM_AUTORELOAD_PRELOAD_DISABLE;
  if (HAL_TIM_Base_Init(&htim5) != HAL_OK)
  {
    Error_Handler();
  }
  sClockSourceConfig.ClockSource = TIM_CLOCKSOURCE_INTERNAL;
  if (HAL_TIM_ConfigClockSource(&htim5, &sClockSourceConfig) != HAL_OK)
  {
    Error_Handler();
  }
  sMasterConfig.MasterOutputTrigger = TIM_TRGO_RESET;
  sMasterConfig.MasterSlaveMode = TIM_MASTERSLAVEMODE_DISABLE;
  if (HAL_TIMEx_MasterConfigSynchronization(&htim5, &sMasterConfig) != HAL_OK)
  {
    Error_Handler();
  }

}

static void MX_GPIO_Init(void)
{
  GPIO_InitTypeDef GPIO_InitStruct = {0};

  /* GPIO Ports Clock Enable */
  __HAL_RCC_GPIOE_CLK_ENABLE();
  __HAL_RCC_GPIOH_CLK_ENABLE();
  __HAL_RCC_GPIOA_CLK_ENABLE();
  __HAL_RCC_GPIOC_CLK_ENABLE();
  __HAL_RCC_GPIOB_CLK_ENABLE();
  __HAL_RCC_GPIOD_CLK_ENABLE();

  /*Configure GPIO pin Output Level */
  HAL_GPIO_WritePin(GPIOB, D0_Pin|D1_Pin|D2_Pin|D3_Pin
                          |GPIO_PIN_8, GPIO_PIN_RESET);

  /*Configure GPIO pin Output Level */
  HAL_GPIO_WritePin(GPIOD, D4_Pin|D5_Pin|D6_Pin|D7_Pin
                          |GPIO_PIN_12|GPIO_PIN_13|GPIO_PIN_14|GPIO_PIN_15
                          |GPIO_PIN_7, GPIO_PIN_RESET);

  /*Configure GPIO pin Output Level */
  HAL_GPIO_WritePin(GPIOC, GPIO_PIN_8, GPIO_PIN_RESET);

  /*Configure GPIO pin Output Level */
  HAL_GPIO_WritePin(GPIOE, RS_Pin|E_Pin, GPIO_PIN_RESET);

  /*Configure GPIO pins : PE2 PE3 PE4 PE5
                           PE6 PE7 */
  GPIO_InitStruct.Pin = GPIO_PIN_2|GPIO_PIN_3|GPIO_PIN_4|GPIO_PIN_5
                          |GPIO_PIN_6|GPIO_PIN_7;
  GPIO_InitStruct.Mode = GPIO_MODE_INPUT;
  GPIO_InitStruct.Pull = GPIO_PULLUP;
  HAL_GPIO_Init(GPIOE, &GPIO_InitStruct);

  /*Configure GPIO pin : PC5 */
  GPIO_InitStruct.Pin = GPIO_PIN_5;
  GPIO_InitStruct.Mode = GPIO_MODE_ANALOG;
  GPIO_InitStruct.Pull = GPIO_NOPULL;
  HAL_GPIO_Init(GPIOC, &GPIO_InitStruct);

  /*Configure GPIO pins : D0_Pin D1_Pin D2_Pin D3_Pin
                           PB8 */
  GPIO_InitStruct.Pin = D0_Pin|D1_Pin|D2_Pin|D3_Pin
                          |GPIO_PIN_8;
  GPIO_InitStruct.Mode = GPIO_MODE_OUTPUT_PP;
  GPIO_InitStruct.Pull = GPIO_NOPULL;
  GPIO_InitStruct.Speed = GPIO_SPEED_FREQ_LOW;
  HAL_GPIO_Init(GPIOB, &GPIO_InitStruct);

  /*Configure GPIO pins : D4_Pin D5_Pin D6_Pin D7_Pin
                           PD12 PD13 PD14 PD15
                           PD7 */
  GPIO_InitStruct.Pin = D4_Pin|D5_Pin|D6_Pin|D7_Pin
                          |GPIO_PIN_12|GPIO_PIN_13|GPIO_PIN_14|GPIO_PIN_15
                          |GPIO_PIN_7;
  GPIO_InitStruct.Mode = GPIO_MODE_OUTPUT_PP;
  GPIO_InitStruct.Pull = GPIO_NOPULL;
  GPIO_InitStruct.Speed = GPIO_SPEED_FREQ_LOW;
  HAL_GPIO_Init(GPIOD, &GPIO_InitStruct);

  /*Configure GPIO pin : PC8 */
  GPIO_InitStruct.Pin = GPIO_PIN_8;
  GPIO_InitStruct.Mode = GPIO_MODE_OUTPUT_PP;
  GPIO_InitStruct.Pull = GPIO_NOPULL;
  GPIO_InitStruct.Speed = GPIO_SPEED_FREQ_LOW;
  HAL_GPIO_Init(GPIOC, &GPIO_InitStruct);

  /*Configure GPIO pins : PB7 PB9 */
  GPIO_InitStruct.Pin = GPIO_PIN_7|GPIO_PIN_9;
  GPIO_InitStruct.Mode = GPIO_MODE_INPUT;
  GPIO_InitStruct.Pull = GPIO_PULLUP;
  HAL_GPIO_Init(GPIOB, &GPIO_InitStruct);

  /*Configure GPIO pins : RS_Pin E_Pin */
  GPIO_InitStruct.Pin = RS_Pin|E_Pin;
  GPIO_InitStruct.Mode = GPIO_MODE_OUTPUT_PP;
  GPIO_InitStruct.Pull = GPIO_NOPULL;
  GPIO_InitStruct.Speed = GPIO_SPEED_FREQ_LOW;
  HAL_GPIO_Init(GPIOE, &GPIO_InitStruct);

}

void Error_Handler(void)
{
}

/************************ (C) COPYRIGHT STMicroelectronics *****END OF FILE****/
